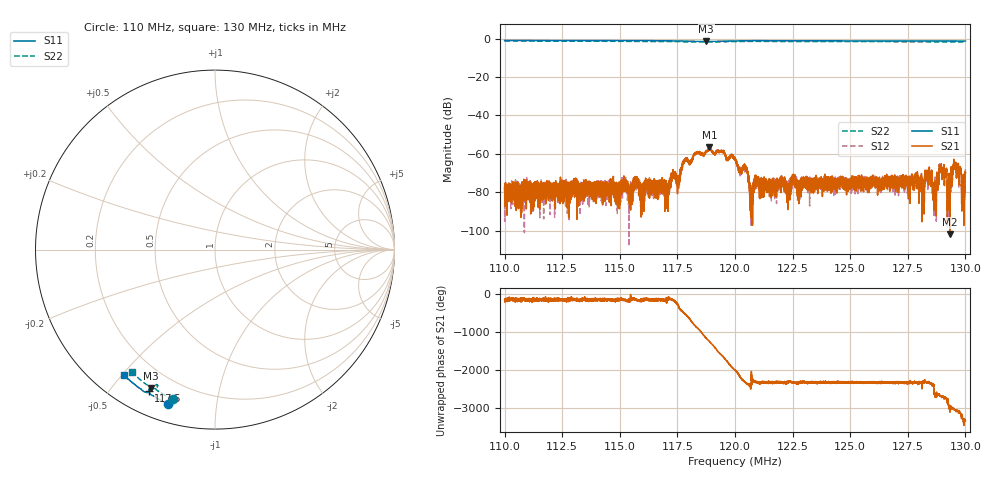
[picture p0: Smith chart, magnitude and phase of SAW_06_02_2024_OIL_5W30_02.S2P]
!Agilent Technologies,E5071C,MY46520923,B.12.03
!Date: Wed Feb 07 10:30:14 2024
!Data & Calibration Information:
!Freq	S11:SOLT2(ON)	S21:SOLT2(ON)	S12:SOLT2(ON)	S22:SOLT2(ON)
!PortZ  Port1:50+j0  Port2:50+j0
!Above PortZ is port z conversion or system Z0 setting when saving the data.
!When reading, reference impedance value at option line is always used.
# Hz S dB R 50
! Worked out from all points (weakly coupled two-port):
!   10000 points, 110 MHz to 130 MHz, reference 50 ohm
!   highest |S21| = -56.55 dB at 118.9 MHz (marker M1); lowest = -101.8 dB at 129.3 MHz (marker M2)
!   lowest |S11| = -1.4 dB at 118.8 MHz (marker M3), VSWR 12.36, Z = 5.68 - j31.7 ohm
!   |S11| at or under -10 dB: nowhere
!   |S22| runs from -1.7 to -1.2 dB; largest |S21 - S12| = 0.0002
!   S11 on the Smith chart (normalised r, x): 110 MHz: 0.08, -0.74; 117.5 MHz: 0.10, -0.63; 130 MHz: 0.09, -0.51
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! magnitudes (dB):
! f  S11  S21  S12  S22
! 110 MHz  -0.9  -79.6  -78.4  -1.2
! 113.3 MHz  -1.0  -78.5  -76.8  -1.3
! 116.7 MHz  -1.1  -75.4  -78.7  -1.4
! 117 MHz  -1.1  -84.3  -82.6  -1.5
! 117.5 MHz  -1.2  -75.9  -74.1  -1.6
! 117.8 MHz  -1.3  -63.8  -62.9  -1.6
! 118.8 MHz  -1.4  -58.7  -58.9  -1.7
! 118.9 MHz  -1.4  -56.5  -57.0  -1.7
! 120 MHz  -1.2  -62.7  -63.3  -1.5
! 120.5 MHz  -1.1  -66.1  -67.5  -1.4
! 120.7 MHz  -1.1  -82.6  -82.8  -1.4
! 120.9 MHz  -1.1  -73.4  -74.2  -1.4
! 123.3 MHz  -1.1  -77.2  -78.7  -1.5
! 126.7 MHz  -1.2  -73.2  -73.5  -1.6
! 128.1 MHz  -1.2  -75.9  -79.8  -1.6
! 128.5 MHz  -1.2  -72.3  -70.9  -1.6
! 128.7 MHz  -1.2  -84.4  -78.3  -1.6
! 129 MHz  -1.2  -68.4  -67.4  -1.7
! 129.3 MHz  -1.3  -101.8  -83.6  -1.7
! 129.6 MHz  -1.3  -64.9  -66.0  -1.7
! 129.9 MHz  -1.3  -72.4  -71.4  -1.7
! 130 MHz  -1.3  -69.9  -68.0  -1.7
